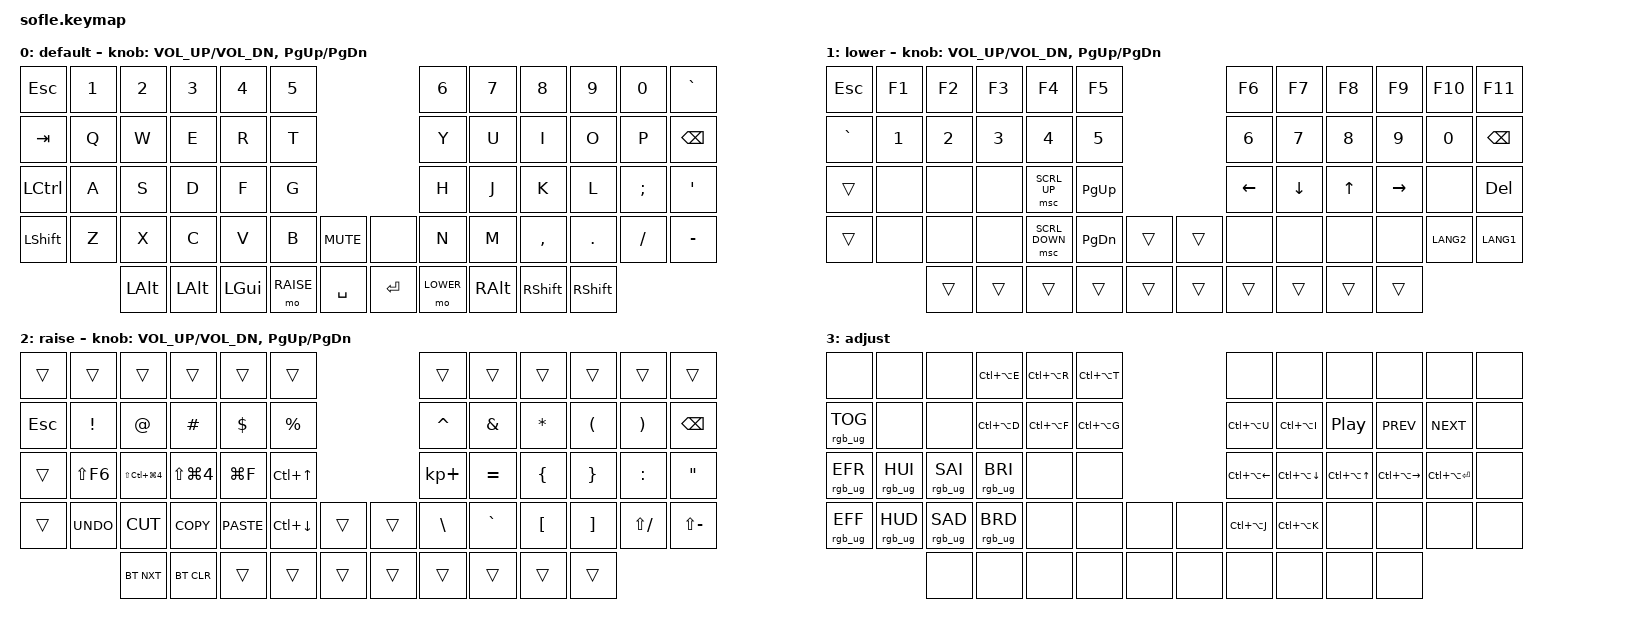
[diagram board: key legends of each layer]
/*
 * Copyright (c) 2020 The ZMK Contributors
 *
 * SPDX-License-Identifier: MIT
 */

#include <behaviors.dtsi>
#include <dt-bindings/zmk/keys.h>
#include <dt-bindings/zmk/bt.h>
#include <dt-bindings/zmk/rgb.h>
#include <dt-bindings/zmk/pointing.h>

#define BASE 0
#define LOWER 1
#define RAISE 2
#define ADJUST 3

/ {

   // Activate ADJUST layer by pressing raise and lower
    conditional_layers {
        compatible = "zmk,conditional-layers";
        adjust_layer {
            if-layers = <LOWER RAISE>;
            then-layer = <ADJUST>;
        };
    };

    keymap {
        compatible = "zmk,keymap";

        default_layer {
            display-name = "default";
// ---------------------------------------------------------------------------------------------------------
// | ESC  |  1  |  2  |  3  |  4  |  5  |                     |  6   |  7   |  8   |  9   |  0   |  `   |
// | TAB  |  Q  |  W  |  E  |  R  |  T  |                     |  Y   |  U   |  I   |  O   |  P   | BSPC |
// | CTRL |  A  |  S  |  D  |  F  |  G  |                     |  H   |  J   |  K   |  L   |  ;   |  '   |
// | SHFT |  Z  |  X  |  C  |  V  |  B  | MUTE  |  ---        |  N   |  M   |  ,   |  .   |  /   |  -   |
//              | ALT | ALT | GUI |RAISE| SPACE |  ENTER      |LOWER | RALT | SHFT | SHFT |
// ---------------------------------------------------------------------------------------------------------
            bindings = <
&kp ESC   &kp N1    &kp N2   &kp N3   &kp N4    &kp N5                      &kp N6    &kp N7    &kp N8    &kp N9    &kp N0    &kp GRAVE
&kp TAB   &kp Q     &kp W    &kp E    &kp R     &kp T                       &kp Y     &kp U     &kp I     &kp O     &kp P     &kp BSPC
&kp LCTRL &kp A     &kp S    &kp D    &kp F     &kp G                       &kp H     &kp J     &kp K     &kp L     &kp SEMI  &kp SQT
&kp LSHFT &kp Z     &kp X    &kp C    &kp V     &kp B     &kp C_MUTE &none  &kp N     &kp M     &kp COMMA &kp DOT   &kp FSLH  &kp MINUS
                    &kp LALT &kp LALT &kp LGUI  &mo RAISE &kp SPC    &kp RET &mo LOWER &kp RALT &kp RSHFT &kp RSHFT
            >;

            sensor-bindings = <&inc_dec_kp C_VOL_UP C_VOL_DN &inc_dec_kp PG_UP PG_DN>;
        };

        lower_layer {
            display-name = "lower";
// ---------------------------------------------------------------------------------------------------------
// | ESC  |  F1  |  F2  |  F3  |  F4  |  F5   |                   |  F6  |  F7  |  F8  |  F9  |  F10  |  F11  |
// |  `   |  1   |  2   |  3   |  4   |  5    |                   |  6   |  7   |  8   |  9   |  0    | BSPC  |
// | TRNS | ---  | ---  | ---  |SCRL^ | PGUP  |                   | LEFT | DOWN |  UP  |RIGHT | ---   | DEL   |
// | TRNS | ---  | ---  | ---  |SCRLv | PGDN  | TRNS  | TRNS      | ---  | ---  | ---  | ---  | LANG2 | LANG1 |
//               | TRNS | TRNS | TRNS | TRNS  | TRNS  | TRNS      | TRNS | TRNS | TRNS | TRNS |
// ---------------------------------------------------------------------------------------------------------
            bindings = <
&kp ESC   &kp F1 &kp F2 &kp F3 &kp F4         &kp F5                   &kp F6    &kp F7    &kp F8 &kp F9    &kp F10   &kp F11
&kp GRAVE &kp N1 &kp N2 &kp N3 &kp N4         &kp N5                   &kp N6    &kp N7    &kp N8 &kp N9    &kp N0    &kp BSPC
&trans    &none  &none  &none  &msc SCRL_UP   &kp PG_UP                &kp LEFT  &kp DOWN  &kp UP &kp RIGHT &none     &kp DEL
&trans    &none  &none  &none  &msc SCRL_DOWN &kp PG_DN &trans &trans  &none     &none     &none  &none     &kp LANG2 &kp LANG1
                 &trans &trans &trans         &trans    &trans &trans  &trans    &trans    &trans &trans
            >;

            sensor-bindings = <&inc_dec_kp C_VOL_UP C_VOL_DN &inc_dec_kp PG_UP PG_DN>;
        };

        raise_layer {
            display-name = "raise";
// ---------------------------------------------------------------------------------------------------------
// | TRNS | TRNS   | TRNS      | TRNS     | TRNS     | TRNS  |                   | TRNS |  TRNS |  TRNS |  TRNS |  TRNS |  TRNS |
// | ESC  |  !     |  @        |  #       |  $       |  %    |                   |  ^   |   &   |   *   |   (   |   )   | BSPC  |
// | TRNS | SFT+F6 | SCRN FULL | SCRN WIN | GUI FIND | CTRL^ |                   |  +   |   =   |   {   |   }   |   :   |   "   |
// | TRNS | UNDO   | CUT       | COPY     | PASTE    | CTRLv | TRNS  | TRNS      |  \   |   `   |   [   |   ]   |   ?   |   _   |
//               |BT NEXT| BT CLR   | TRNS     | TRNS  | TRNS  | TRNS      | TRNS |  TRNS |  TRNS |  TRNS |
// ---------------------------------------------------------------------------------------------------------
            bindings = <
&trans  &trans     &trans             &trans         &trans      &trans                        &trans      &trans    &trans    &trans    &trans       &trans
&kp ESC &kp EXCL   &kp AT             &kp HASH       &kp DLLR    &kp PRCNT                     &kp CARET   &kp AMPS  &kp ASTRK &kp LPAR  &kp RPAR     &kp BSPC
&trans  &kp LS(F6) &kp LS(LC(LG(N4))) &kp LS(LG(N4)) &kp LG(F)   &kp LC(UP)                    &kp KP_PLUS &kp EQL   &kp LBRC  &kp RBRC  &kp COLON    &kp DQT
&trans  &kp K_UNDO &kp K_CUT          &kp K_COPY     &kp K_PASTE &kp LC(DOWN) &trans    &trans &kp BSLH    &kp GRAVE &kp LBKT  &kp RBKT  &kp LS(FSLH) &kp LS(MINUS)
                   &bt BT_NXT         &bt BT_CLR     &trans      &trans       &trans    &trans &trans      &trans    &trans    &trans
            >;

            sensor-bindings = <&inc_dec_kp C_VOL_UP C_VOL_DN &inc_dec_kp PG_UP PG_DN>;
        };

        adjust_layer {
            display-name = "adjust";
// ---------------------------------------------------------------------------------------------------------
// | ---     | ---  | ---  | LCA+E | LCA+R | LCA+T |                 | ---   | ---   | ---   | ---     | ---     | --- |
// | RGB TOG | ---  | ---  | LCA+D | LCA+F | LCA+G |                 | LCA+U | LCA+I | PLAY  | PREV    | NEXT    | --- |
// | RGB EFR | HUE+ | SAT+ | BRI+  | ---   | ---   |                 | LCA<- | LCAv  | LCA^  | LCA->   | LCA+ENT | --- |
// | RGB EFF | HUE- | SAT- | BRI-  | ---   | ---   | ---   | ---     | LCA+J | LCA+K | ---   | ---     | ---     | --- |
//                  | ---  | ---   | ---   | ---   | ---   | ---     | ---   | ---   | ---   | ---     |
// ---------------------------------------------------------------------------------------------------------
            bindings = <
&none           &none           &none           &kp LC(LA(E)) &kp LC(LA(R)) &kp LC(LA(T))                &none            &none            &none            &none            &none            &none
&rgb_ug RGB_TOG &none           &none           &kp LC(LA(D))   &kp LC(LA(F)) &kp LC(LA(G))                &kp LC(LA(U))    &kp LC(LA(I))    &kp C_PLAY_PAUSE &kp C_PREV       &kp C_NEXT       &none
&rgb_ug RGB_EFR &rgb_ug RGB_HUI &rgb_ug RGB_SAI &rgb_ug RGB_BRI &none         &none                        &kp LC(LA(LEFT)) &kp LC(LA(DOWN)) &kp LC(LA(UP))   &kp LC(LA(RIGHT)) &kp LC(LA(RET)) &none
&rgb_ug RGB_EFF &rgb_ug RGB_HUD &rgb_ug RGB_SAD &rgb_ug RGB_BRD &none         &none         &none   &none  &kp LC(LA(J))    &kp LC(LA(K))    &none            &none            &none            &none
                                &none           &none           &none         &none         &none   &none  &none            &none            &none            &none
            >;
        };

    };
};
